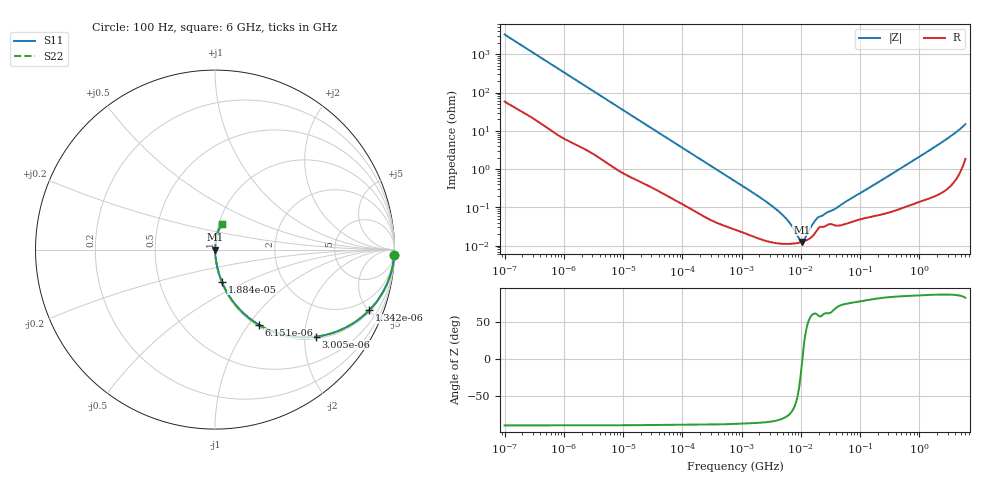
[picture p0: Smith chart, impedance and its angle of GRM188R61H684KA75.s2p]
!Murata Part Number: GRM188R61H684KA75
!These Parameters are Measured in Series Mode Connection
!Data Generated on Mar 30, 2021
!  o--ll--o
!Port1  Port2
!  o------o
!Operation Temp=25[degC], DC Bias Voltage=0[V]
!Freq. Start=100[Hz] Stop=6[GHz] 401[Steps]
# Hz S RI R 50
!Freq.(Hz) S11(Real) S11(Imag) S21(Real) S21(Imag) S12(Real) S12(Imag) S22(Real) S22(Imag)
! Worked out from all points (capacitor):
!   401 points, 100 Hz to 6 GHz, reference 50 ohm
!   read as one part in series: C = 484 nF near 109 Hz
!   lowest |Z| = 12.6 mohm at 10.4 MHz (marker M1)
!   series resonance near 10.6 MHz, so ESL is about 470 pH
!   S11 on the Smith chart (normalised r, x): 100 Hz: 2, -66; 1.342 kHz: 1.10, -5.03; 3.005 kHz: 1.05, -2.27; 6.151 kHz: 1.02, -1.12; 18.84 kHz: 1.01, -0.37; 6 GHz: 1.04, +0.30
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100  0.9985 -0.0304  0.00147 0.0304  0.00147 0.0304  0.9985 -0.0304
419  0.9822 -0.123  0.0178 0.123  0.0178 0.123  0.9822 -0.123
1342  0.8588 -0.3386  0.1412 0.3386  0.1412 0.3386  0.8588 -0.3386
2008  0.7364 -0.43  0.2636 0.43  0.2636 0.43  0.7364 -0.43
3005  0.5626 -0.4848  0.4374 0.4848  0.4374 0.4848  0.5626 -0.4848
6151  0.2447 -0.419  0.7553 0.419  0.7553 0.419  0.2447 -0.419
10066  0.1118 -0.3042  0.8882 0.3042  0.8882 0.3042  0.1118 -0.3042
18841  0.0377 -0.178  0.9623 0.178  0.9623 0.178  0.0377 -0.178
40335  0.0102 -0.0869  0.9898 0.0869  0.9898 0.0869  0.0102 -0.0869
774597  0.000287 -0.00484  0.9997 0.00484  0.9997 0.00484  0.000287 -0.00484
2372521  0.000141 -0.00156  0.9999 0.00156  0.9999 0.00156  0.000141 -0.00156
4440638  0.000114 -0.000728  0.9999 0.000728  0.9999 0.000728  0.000114 -0.000728
6353432  0.000112 -0.000397  0.9999 0.000397  0.9999 0.000397  0.000112 -0.000397
9506416  0.000121 -8.18e-05  0.9999 8.18e-05  0.9999 8.18e-05  0.000121 -8.18e-05
1.039699e7  0.000125 -1.46e-05  0.9999 1.46e-05  0.9999 1.46e-05  0.000125 -1.46e-05
1.189169e7  0.000134 8.69e-05  0.9999 -8.69e-05  0.9999 -8.69e-05  0.000134 8.69e-05
1.555665e7  0.000174 0.000302  0.9998 -0.000302  0.9998 -0.000302  0.000174 0.000302
2.035112e7  0.000299 0.000482  0.9997 -0.000482  0.9997 -0.000482  0.000299 0.000482
3.80911e7  0.000339 0.000855  0.9997 -0.000855  0.9997 -0.000855  0.000339 0.000855
3.124326e8  0.000784 0.00679  0.9992 -0.00679  0.9992 -0.00679  0.000784 0.00679
2.048624e9  0.00391 0.0424  0.9961 -0.0424  0.9961 -0.0424  0.00391 0.0424
6e9  0.0386 0.1403  0.9614 -0.1403  0.9614 -0.1403  0.0386 0.1403
